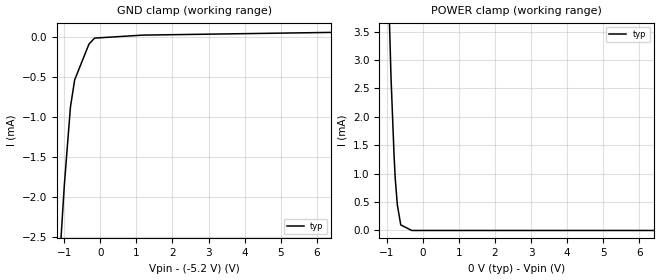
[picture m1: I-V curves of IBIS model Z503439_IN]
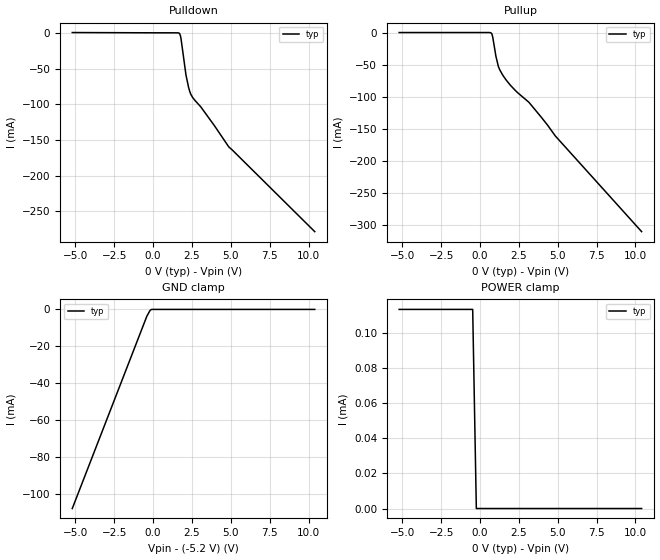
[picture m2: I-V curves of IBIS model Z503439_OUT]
| YOU ARE ONLY AUTHORIZED TO USE THIS SOFTWARE
| ACCORDING TO LICENSOR'S LICENSE RESTRICTIONS.
[IBIS Ver] 3.1
[File Name] mc10h107l.ibs
[File Rev] 2.0
[Source] Measured and created by ICX Technology
[Date] Friday 7/14/00 9:07:50 AM
[Copyright]
| (C) COPYRIGHT 1993-2000
| MENTOR GRAPHICS CORPORATION
| ICX STANDARD LIBRARY, ICX PROJECT MODELING,
| ICX CUSTOM MODELING, ICX VENDOR MODEL
| ALL RIGHTS RESERVED.
| THE FOLLOWING ARE TRADEMARKS OR SERVICE MARKS OF
| MENTOR GRAPHICS CORPORATION:ICX (R), ICX STANDARD
| LIBRARY(R), ICX PROJECT MODELING(R), ICX CUSTOM
| MODELING(R), qualityIBIS(TM), MODELVIEWER(TM),
| AND MODELEDITOR(TM)
| ALL COPIES OF SOFTWARE, INCLUDING BUT NOT LIMITED TO
| ANY MODIFICATIONS, ENHANCEMENTS OR DERIVATIVE WORKS,
| MUST CONTAIN ALL MENTOR GRAPHICS CORPORATION'S
| NOTICES AND LEGENDS, INCLUDING THOSE EMBEDDED IN
| SOFTWARE AND THOSE AFFIXED TO SOFTWARE MEDIUM
| AND CONTAINER, AS RECEIVED FROM MENTOR GRAPHICS
| CORPORATION.
|  ZAP Model Builder 2.7
[Component] MC10H107L
[Manufacturer] OnSemiconductor
[Package]
| variable   typ   min   max
R_pkg  .212ohms NA NA
L_pkg  4.758nH NA NA
C_pkg  1.944pF NA NA
[Pin] signal_name  model_name  R_pin  L_pin C_pin
1 VCC1 POWER .224 7.258n 2.683p
2 _A0 Z503439_OUT .216 5.258n 2.19p
3 A0 Z503439_OUT .208 3.758n 1.697p
4 A Z503439_IN .2 2.758n 1.204p
5 A Z503439_IN .2 2.758n 1.204p
6 NC NC .208 3.758n 1.697p
7 B Z503439_IN .216 5.258n 2.19p
8 VEE POWER .224 7.258n 2.683p
9 B Z503439_IN .224 7.258n 2.683p
10 B0 Z503439_OUT .216 5.258n 2.19p
11 _B0 Z503439_OUT .208 3.758n 1.697p
12 _CO Z503439_OUT .2 2.758n 1.204p
13 C0 Z503439_OUT .2 2.758n 1.204p
14 C Z503439_IN .208 3.758n 1.697p
15 C Z503439_IN .216 5.258n 2.19p
16 VCC2 POWER .224 7.258n 2.683p
| Models and submodels in the file (2): Z503439_IN (Input_ECL), Z503439_OUT (Output_ECL)
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| (C) COPYRIGHT 1993-2000
| MENTOR GRAPHICS CORPORATION
| ICX STANDARD LIBRARY, ICX PROJECT MODELING,
| ICX CUSTOM MODELING, ICX VENDOR MODEL
| ALL RIGHTS RESERVED.
| THE FOLLOWING ARE TRADEMARKS OR SERVICE MARKS OF
| MENTOR GRAPHICS CORPORATION:ICX (R), ICX STANDARD
| LIBRARY(R), ICX PROJECT MODELING(R), ICX CUSTOM
| MODELING(R), qualityIBIS(TM), MODELVIEWER(TM),
| AND MODELEDITOR(TM)
| ALL COPIES OF SOFTWARE, INCLUDING BUT NOT LIMITED TO
| ANY MODIFICATIONS, ENHANCEMENTS OR DERIVATIVE WORKS,
| MUST CONTAIN ALL MENTOR GRAPHICS CORPORATION'S
| NOTICES AND LEGENDS, INCLUDING THOSE EMBEDDED IN
| SOFTWARE AND THOSE AFFIXED TO SOFTWARE MEDIUM
| AND CONTAINER, AS RECEIVED FROM MENTOR GRAPHICS
| CORPORATION.
| Model Application Version 1.89 2/18/99.
[Model] Z503439_IN
Model_type Input_ECL
Vinl = -1.480V
Vinh = -1.130V
C_comp 4.000pF NA NA
| variable typ   min   max
[Voltage Range] -5.200V NA NA
[GND Clamp Reference] -5.200V NA NA
[POWER Clamp Reference] 0.000V NA NA
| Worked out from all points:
|   GND clamp passes 1 mA (typ) near -0.85 V on its own axis
|   POWER clamp passes 1 mA (typ) near -0.77 V on its own axis
[GND Clamp]
-5.2V     -35.34mA   NA         NA
-1.181V   -3.208mA   NA         NA
-996mV    -1.867mA   NA         NA
-825mV    -874.8uA   NA         NA
-708mV    -533.4uA   NA         NA
-312mV    -85.03uA   NA         NA
-156mV    -9.346uA   NA         NA
1.182V    28.1uA     NA         NA
10.4V     88.25uA    NA         NA
[POWER Clamp]
-5.2V     118.2mA    NA         NA
-1.425V   16.13mA    NA         NA
-1.094V   7.546mA    NA         NA
-878.9mV  2.706mA    NA         NA
-794.2mV  1.327mA    NA         NA
-761.3mV  913.2uA    NA         NA
-702.9mV  448.9uA    NA         NA
-608.5mV  98.11uA    NA         NA
-304.3mV  0A         NA         NA
10.4V     0A         NA         NA
| (C) COPYRIGHT 1993-2000
| MENTOR GRAPHICS CORPORATION
| ICX STANDARD LIBRARY, ICX PROJECT MODELING,
| ICX CUSTOM MODELING, ICX VENDOR MODEL
| ALL RIGHTS RESERVED.
| THE FOLLOWING ARE TRADEMARKS OR SERVICE MARKS OF
| MENTOR GRAPHICS CORPORATION:ICX (R), ICX STANDARD
| LIBRARY(R), ICX PROJECT MODELING(R), ICX CUSTOM
| MODELING(R), qualityIBIS(TM), MODELVIEWER(TM),
| AND MODELEDITOR(TM)
| ALL COPIES OF SOFTWARE, INCLUDING BUT NOT LIMITED TO
| ANY MODIFICATIONS, ENHANCEMENTS OR DERIVATIVE WORKS,
| MUST CONTAIN ALL MENTOR GRAPHICS CORPORATION'S
| NOTICES AND LEGENDS, INCLUDING THOSE EMBEDDED IN
| SOFTWARE AND THOSE AFFIXED TO SOFTWARE MEDIUM
| AND CONTAINER, AS RECEIVED FROM MENTOR GRAPHICS
| CORPORATION.
| Model Application Version 1.89 2/18/99.
[Model] Z503439_OUT
Model_type Output_ECL
Vref=-2.000V
Rref=50.00ohms
Cref=0.000F
Vmeas=-1.305V
C_comp 8.000pF NA NA
| variable typ   min   max
[Voltage Range] -5.200V NA NA
[POWER Clamp Reference] 0.000V NA NA
[Pullup Reference] 0.000V NA NA
[Pulldown Reference] 0.000V NA NA
[GND Clamp Reference] -5.200V NA NA
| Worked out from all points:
|   GND clamp passes 1 mA (typ) near -0.23 V on its own axis
[GND Clamp]
-5.2V     -107.8mA   NA         NA
-401mV    -3.659mA   NA         NA
-191mV    -485.3uA   NA         NA
-95.5mV   0A         NA         NA
10.4V     0A         NA         NA
[Pulldown]
-5.2V     463.2uA    NA         NA
1.704V    -918.8uA   NA         NA
1.758V    -4.091mA   NA         NA
1.797V    -8.199mA   NA         NA
2.115V    -59.06mA   NA         NA
2.277V    -75.83mA   NA         NA
2.354V    -81.82mA   NA         NA
2.544V    -90.55mA   NA         NA
3.066V    -103.6mA   NA         NA
3.96V     -130.5mA   NA         NA
4.863V    -159.6mA   NA         NA
10.4V     -278.5mA   NA         NA
[Pullup]
-5.2V     9.347uA    NA         NA
728mV     -859uA     NA         NA
820.3mV   -6.904mA   NA         NA
1.025V    -36.98mA   NA         NA
1.187V    -53.14mA   NA         NA
1.471V    -66.63mA   NA         NA
1.682V    -73.93mA   NA         NA
2.302V    -90.95mA   NA         NA
3.145V    -108.6mA   NA         NA
4.361V    -144.7mA   NA         NA
4.841V    -161mA     NA         NA
10.4V     -310.3mA   NA         NA
[POWER Clamp]
-5.2V     113.4uA    NA         NA
-468.8mV  113.4uA    NA         NA
-234.4mV  0A         NA         NA
10.4V     0A         NA         NA
[Ramp]
| variable typ min max
dV/dt_r 550.4m/572.7p NA NA
dV/dt_f 550.4m/485.4p NA NA
R_load = 500.0Ohms
